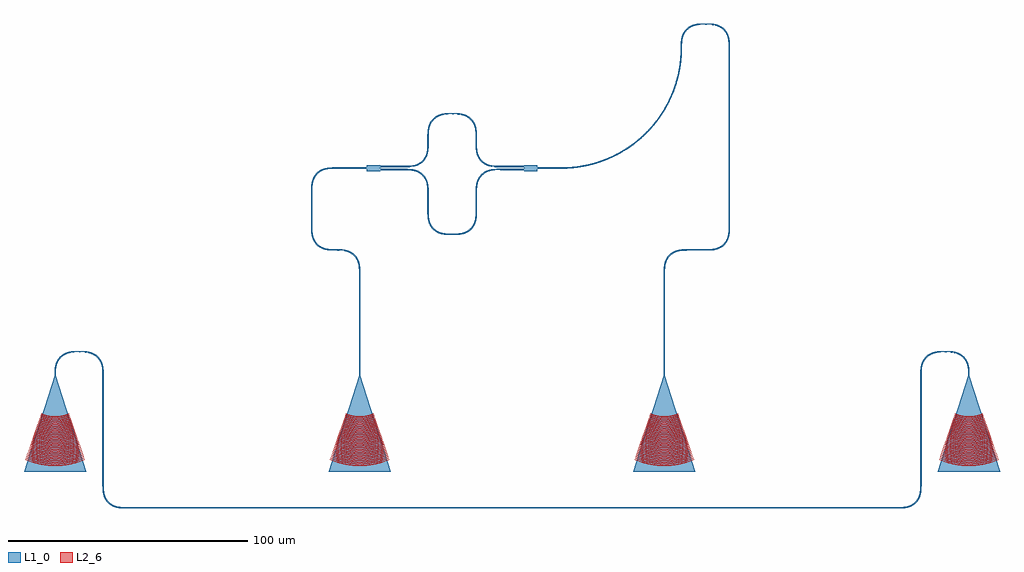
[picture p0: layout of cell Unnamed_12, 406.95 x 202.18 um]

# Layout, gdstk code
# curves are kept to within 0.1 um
from math import pi, radians
import gdstk
lib = gdstk.Library(unit=1e-6, precision=1e-09)
def R(c, l, rs):  # rectangles x0, y0, x1, y1
    for r in rs: c.add(gdstk.rectangle(r[:2], r[2:], *l))
def P(c, l, *ps):  # polygons
    for p in ps: c.add(gdstk.Polygon(p, *l))
L1_0 = (1, 0)
L2_6 = (2, 6)

mmi1x2_wnone_wt1_lt10_l_ = lib.new_cell('mmi1x2_WNone_WT1_LT10_L_4e0f7121')
P(mmi1x2_wnone_wt1_lt10_l_, L1_0, [(0,-1.25),(0,-0.5),(-10,-0.25),(-10,0.25),(0,0.5),(0,1.25),(5.5,1.25),(5.5,1.125),(15.5,0.875),(15.5,0.375),(5.5,0.125),(5.5,-0.125),(15.5,-0.375),(15.5,-0.875),(5.5,-1.125),(5.5,-1.25)])

bend_euler_rnone_a90_p0_ = lib.new_cell('bend_euler_RNone_A90_P0_d7c3a5a9')
P(bend_euler_rnone_a90_p0_, L1_0, [(0,-0.25),(0,0.25),(2.881,0.353),(3.952,0.52),(4.99,0.806),(6.431,1.505),(7.575,2.425),(8.495,3.569),(9.194,5.01),(9.48,6.048),(9.647,7.119),(9.75,10),(10.25,10),(10.158,7.205),(9.797,5.254),(9.457,4.312),(9.066,3.545),(8.5,2.715),(7.928,2.072),(7.285,1.5),(6.455,0.934),(5.688,0.543),(4.746,0.203),(2.795,-0.158)])

straight_l2_n2_csstrip = lib.new_cell('straight_L2_N2_CSstrip')
R(straight_l2_n2_csstrip, L1_0, [(0,-0.25,2,0.25)])

straight_l7_n2_csstrip = lib.new_cell('straight_L7_N2_CSstrip')
R(straight_l7_n2_csstrip, L1_0, [(0,-0.25,7,0.25)])

straight_l0p1_n2_csstrip = lib.new_cell('straight_L0p1_N2_CSstrip')
R(straight_l0p1_n2_csstrip, L1_0, [(0,-0.25,0.1,0.25)])

mzi_dl10_ly2_lx0p1_bben_ = lib.new_cell('mzi_DL10_LY2_LX0p1_Bben_4daac747')
mzi_dl10_ly2_lx0p1_bben_.add(gdstk.Reference(mmi1x2_wnone_wt1_lt10_l_, (0,0)))
mzi_dl10_ly2_lx0p1_bben_.add(gdstk.Reference(bend_euler_rnone_a90_p0_, (15.5,-0.625), x_reflection=True))
mzi_dl10_ly2_lx0p1_bben_.add(gdstk.Reference(bend_euler_rnone_a90_p0_, (25.5,-17.625), rotation=3*pi/2))
mzi_dl10_ly2_lx0p1_bben_.add(gdstk.Reference(bend_euler_rnone_a90_p0_, (15.5,0.625)))
mzi_dl10_ly2_lx0p1_bben_.add(gdstk.Reference(bend_euler_rnone_a90_p0_, (35.5,22.625), rotation=pi))
mzi_dl10_ly2_lx0p1_bben_.add(gdstk.Reference(bend_euler_rnone_a90_p0_, (45.6,12.625), rotation=pi/2))
mzi_dl10_ly2_lx0p1_bben_.add(gdstk.Reference(bend_euler_rnone_a90_p0_, (45.6,10.625), rotation=3*pi/2))
mzi_dl10_ly2_lx0p1_bben_.add(gdstk.Reference(bend_euler_rnone_a90_p0_, (35.6,-27.625)))
mzi_dl10_ly2_lx0p1_bben_.add(gdstk.Reference(bend_euler_rnone_a90_p0_, (55.6,-0.625), rotation=pi))
mzi_dl10_ly2_lx0p1_bben_.add(gdstk.Reference(straight_l2_n2_csstrip, (25.5,10.625), rotation=pi/2))
mzi_dl10_ly2_lx0p1_bben_.add(gdstk.Reference(straight_l7_n2_csstrip, (25.5,-10.625), rotation=3*pi/2))
mzi_dl10_ly2_lx0p1_bben_.add(gdstk.Reference(straight_l0p1_n2_csstrip, (35.5,22.625)))
mzi_dl10_ly2_lx0p1_bben_.add(gdstk.Reference(straight_l0p1_n2_csstrip, (35.5,-27.625)))
mzi_dl10_ly2_lx0p1_bben_.add(gdstk.Reference(mmi1x2_wnone_wt1_lt10_l_, (71.1,0), rotation=pi, x_reflection=True))
mzi_dl10_ly2_lx0p1_bben_.add(gdstk.Reference(straight_l2_n2_csstrip, (45.6,10.625), rotation=pi/2))
mzi_dl10_ly2_lx0p1_bben_.add(gdstk.Reference(straight_l7_n2_csstrip, (45.6,-17.625), rotation=pi/2))

bend_circular_r50_a90_n_ = lib.new_cell('bend_circular_R50_A90_N_f9b19662')
P(bend_circular_r50_a90_n_, L1_0, [(0,-0.25),(0,0.25),(3.013,0.341),(5.766,0.585),(8.254,0.939),(11.21,1.529),(13.401,2.089),(15.565,2.747),(19.56,4.256),(21.618,5.192),(23.853,6.341),(25.812,7.47),(27.926,8.827),(29.768,10.139),(31.549,11.533),(33.264,13.006),(35.09,14.733),(36.825,16.549),(38.307,18.257),(39.861,20.232),(41.173,22.074),(42.53,24.188),(43.659,26.147),(44.808,28.382),(45.744,30.44),(47.253,34.435),(47.911,36.599),(48.471,38.79),(49.061,41.746),(49.415,44.234),(49.659,46.987),(49.75,50),(50.25,50),(50.186,47.463),(50.019,45.185),(49.712,42.666),(49.278,40.166),(48.719,37.69),(48.109,35.489),(47.315,33.079),(46.401,30.712),(45.368,28.394),(44.339,26.354),(43.089,24.146),(41.869,22.215),(40.413,20.136),(38.854,18.134),(37.366,16.401),(35.622,14.558),(33.599,12.634),(31.866,11.146),(30.068,9.738),(27.996,8.272),(25.854,6.911),(23.646,5.661),(21.606,4.632),(19.288,3.599),(16.921,2.685),(14.511,1.891),(12.31,1.281),(9.834,0.722),(7.334,0.288),(4.815,-0.019),(2.537,-0.186)])

mzi_with_bend_r50 = lib.new_cell('mzi_with_bend_R50')
mzi_with_bend_r50.add(gdstk.Reference(mzi_dl10_ly2_lx0p1_bben_, (0,0)))
mzi_with_bend_r50.add(gdstk.Reference(bend_circular_r50_a90_n_, (81.1,0)))

grating_coupler_ellipti_ = lib.new_cell('grating_coupler_ellipti_7b8aa449')
P(grating_coupler_ellipti_, L1_0, [(40.551,-12.973),(0.471,-0.25),(0.471,0.25),(40.551,12.973)])
P(grating_coupler_ellipti_, L2_6, [(16.414,-5.811),(16.3,-5.646),(16.82,-4.153),(17.178,-2.617),(17.351,-1.313),(17.409,0),(17.351,1.313),(17.178,2.617),(16.82,4.153),(16.3,5.646),(16.414,5.811),(16.61,5.77),(16.981,4.76),(17.344,3.465),(17.658,1.611),(17.743,0),(17.658,-1.611),(17.344,-3.465),(16.981,-4.76),(16.61,-5.77)],
  [(17.047,-6.03),(16.933,-5.866),(17.473,-4.315),(17.845,-2.718),(18.025,-1.364),(18.085,0),(18.025,1.364),(17.845,2.718),(17.473,4.315),(16.933,5.866),(17.047,6.03),(17.243,5.988),(17.444,5.469),(17.793,4.407),(18.066,3.325),(18.33,1.671),(18.419,0),(18.33,-1.671),(18.066,-3.325),(17.793,-4.407),(17.444,-5.469),(17.243,-5.988)],
  [(17.68,-6.25),(17.566,-6.086),(18.126,-4.477),(18.512,-2.82),(18.699,-1.415),(18.761,0),(18.699,1.415),(18.512,2.82),(18.126,4.477),(17.566,6.086),(17.68,6.25),(17.876,6.208),(17.982,5.94),(18.363,4.846),(18.665,3.729),(19.003,1.733),(19.095,0),(19.003,-1.733),(18.665,-3.729),(18.363,-4.846),(17.982,-5.94),(17.876,-6.208)],
  [(18.313,-6.469),(18.199,-6.304),(18.779,-4.638),(19.179,-2.922),(19.373,-1.466),(19.437,0),(19.373,1.466),(19.179,2.922),(18.779,4.638),(18.199,6.304),(18.313,6.469),(18.509,6.428),(18.619,6.15),(19.013,5.018),(19.326,3.861),(19.676,1.794),(19.771,0),(19.676,-1.794),(19.326,-3.861),(19.013,-5.018),(18.619,-6.15),(18.509,-6.428)],
  [(18.946,-6.689),(18.832,-6.525),(19.432,-4.8),(19.846,-3.024),(20.046,-1.517),(20.113,0),(20.046,1.517),(19.846,3.024),(19.432,4.8),(18.832,6.525),(18.946,6.689),(19.142,6.647),(19.365,6.07),(19.752,4.892),(20.055,3.69),(20.349,1.855),(20.447,0),(20.349,-1.855),(20.055,-3.69),(19.752,-4.892),(19.365,-6.07),(19.142,-6.647)],
  [(19.579,-6.908),(19.465,-6.744),(20.085,-4.961),(20.513,-3.125),(20.72,-1.568),(20.789,0),(20.72,1.568),(20.513,3.125),(20.085,4.961),(19.465,6.744),(19.579,6.908),(19.775,6.866),(20.005,6.27),(20.405,5.053),(20.718,3.812),(21.021,1.917),(21.123,0),(21.021,-1.917),(20.718,-3.812),(20.405,-5.053),(20.005,-6.27),(19.775,-6.866)],
  [(20.212,-7.128),(20.098,-6.964),(20.738,-5.123),(21.18,-3.227),(21.394,-1.619),(21.465,0),(21.394,1.619),(21.18,3.227),(20.738,5.123),(20.098,6.964),(20.212,7.128),(20.408,7.086),(20.646,6.471),(21.058,5.215),(21.381,3.934),(21.694,1.978),(21.799,0),(21.694,-1.978),(21.381,-3.934),(21.058,-5.215),(20.646,-6.471),(20.408,-7.086)],
  [(20.844,-7.347),(20.73,-7.182),(21.391,-5.284),(21.847,-3.329),(22.068,-1.67),(22.141,0),(22.068,1.67),(21.847,3.329),(21.391,5.284),(20.73,7.182),(20.844,7.347),(21.04,7.306),(21.286,6.672),(21.711,5.376),(22.044,4.056),(22.367,2.039),(22.475,0),(22.367,-2.039),(22.044,-4.056),(21.711,-5.376),(21.286,-6.672),(21.04,-7.306)],
  [(21.477,-7.567),(21.363,-7.402),(22.044,-5.446),(22.514,-3.431),(22.741,-1.721),(22.817,0),(22.741,1.721),(22.514,3.431),(22.044,5.446),(21.363,7.402),(21.477,7.567),(21.673,7.526),(21.926,6.871),(22.364,5.538),(22.707,4.177),(23.04,2.1),(23.151,0),(23.04,-2.1),(22.707,-4.177),(22.364,-5.538),(21.926,-6.871),(21.673,-7.526)],
  [(22.11,-7.786),(21.996,-7.621),(22.697,-5.607),(23.181,-3.533),(23.415,-1.773),(23.493,0),(23.415,1.773),(23.181,3.533),(22.697,5.607),(21.996,7.621),(22.11,7.786),(22.306,7.745),(22.566,7.072),(23.017,5.699),(23.37,4.299),(23.712,2.161),(23.827,0),(23.712,-2.161),(23.37,-4.299),(23.017,-5.699),(22.566,-7.072),(22.306,-7.745)],
  [(22.743,-8.006),(22.629,-7.842),(23.35,-5.769),(23.848,-3.634),(24.089,-1.824),(24.169,0),(24.089,1.824),(23.848,3.634),(23.35,5.769),(22.629,7.842),(22.743,8.006),(22.939,7.964),(23.207,7.273),(23.67,5.861),(24.033,4.421),(24.385,2.223),(24.503,0),(24.385,-2.223),(24.033,-4.421),(23.67,-5.861),(23.207,-7.273),(22.939,-7.964)],
  [(23.376,-8.225),(23.262,-8.06),(24.003,-5.93),(24.515,-3.736),(24.763,-1.875),(24.845,0),(24.763,1.875),(24.515,3.736),(24.003,5.93),(23.262,8.06),(23.376,8.225),(23.572,8.184),(23.847,7.474),(24.323,6.022),(24.696,4.543),(25.058,2.284),(25.179,0),(25.058,-2.284),(24.696,-4.543),(24.323,-6.022),(23.847,-7.474),(23.572,-8.184)],
  [(24.009,-8.445),(23.895,-8.28),(24.657,-6.092),(25.182,-3.838),(25.436,-1.926),(25.521,0),(25.436,1.926),(25.182,3.838),(24.657,6.092),(23.895,8.28),(24.009,8.445),(24.205,8.404),(24.619,7.305),(24.977,6.184),(25.359,4.665),(25.731,2.346),(25.855,0),(25.731,-2.346),(25.359,-4.665),(24.977,-6.184),(24.619,-7.305),(24.205,-8.404)],
  [(24.642,-8.664),(24.528,-8.499),(25.31,-6.253),(25.849,-3.94),(26.11,-1.977),(26.197,0),(26.11,1.977),(25.849,3.94),(25.31,6.253),(24.528,8.499),(24.642,8.664),(24.838,8.623),(25.263,7.496),(25.63,6.345),(26.022,4.787),(26.404,2.407),(26.531,0),(26.404,-2.407),(26.022,-4.787),(25.63,-6.345),(25.263,-7.496),(24.838,-8.623)],
  [(25.275,-8.884),(25.161,-8.72),(25.963,-6.415),(26.516,-4.041),(26.784,-2.028),(26.873,0),(26.784,2.028),(26.516,4.041),(25.963,6.415),(25.161,8.72),(25.275,8.884),(25.471,8.842),(25.907,7.686),(26.283,6.507),(26.686,4.908),(27.076,2.468),(27.207,0),(27.076,-2.468),(26.686,-4.908),(26.283,-6.507),(25.907,-7.686),(25.471,-8.842)],
  [(25.908,-9.103),(25.794,-8.939),(26.237,-7.767),(26.616,-6.576),(26.932,-5.367),(27.183,-4.143),(27.458,-2.079),(27.549,0),(27.458,2.079),(27.183,4.143),(26.932,5.367),(26.616,6.576),(26.237,7.767),(25.794,8.939),(25.908,9.103),(26.104,9.061),(26.551,7.877),(26.936,6.668),(27.349,5.03),(27.749,2.529),(27.849,1.266),(27.883,0),(27.849,-1.266),(27.749,-2.529),(27.349,-5.03),(26.936,-6.668),(26.551,-7.877),(26.104,-9.061)],
  [(26.54,-9.323),(26.426,-9.158),(26.88,-7.958),(27.269,-6.738),(27.593,-5.498),(27.85,-4.245),(28.131,-2.13),(28.225,0),(28.131,2.13),(27.85,4.245),(27.593,5.498),(27.269,6.738),(26.88,7.958),(26.426,9.158),(26.54,9.323),(26.736,9.282),(27.194,8.068),(27.706,6.413),(28.012,5.152),(28.25,3.876),(28.422,2.59),(28.524,1.297),(28.559,0),(28.524,-1.297),(28.422,-2.59),(28.25,-3.876),(28.012,-5.152),(27.706,-6.413),(27.194,-8.068),(26.736,-9.282)],
  [(27.173,-9.542),(27.059,-9.377),(27.524,-8.149),(27.922,-6.9),(28.254,-5.63),(28.517,-4.347),(28.805,-2.181),(28.901,0),(28.805,2.181),(28.517,4.347),(28.254,5.63),(27.922,6.9),(27.524,8.149),(27.059,9.377),(27.173,9.542),(27.369,9.501),(27.838,8.259),(28.362,6.565),(28.675,5.274),(28.919,3.968),(29.095,2.652),(29.199,1.328),(29.235,0),(29.199,-1.328),(29.095,-2.652),(28.919,-3.968),(28.675,-5.274),(28.362,-6.565),(27.838,-8.259),(27.369,-9.501)],
  [(27.806,-9.762),(27.692,-9.597),(28.168,-8.339),(28.575,-7.061),(28.914,-5.762),(29.184,-4.448),(29.479,-2.232),(29.577,0),(29.479,2.232),(29.184,4.448),(28.914,5.762),(28.575,7.061),(28.168,8.339),(27.692,9.597),(27.806,9.762),(28.002,9.721),(28.482,8.449),(28.895,7.153),(29.338,5.396),(29.587,4.06),(29.767,2.713),(29.874,1.358),(29.911,0),(29.874,-1.358),(29.767,-2.713),(29.587,-4.06),(29.338,-5.396),(28.895,-7.153),(28.482,-8.449),(28.002,-9.721)],
  [(28.439,-9.981),(28.325,-9.816),(28.812,-8.53),(29.228,-7.223),(29.575,-5.894),(29.851,-4.55),(30.153,-2.283),(30.253,0),(30.153,2.283),(29.851,4.55),(29.575,5.894),(29.228,7.223),(28.812,8.53),(28.325,9.816),(28.439,9.981),(28.635,9.94),(29.126,8.64),(29.548,7.315),(30.001,5.518),(30.256,4.151),(30.44,2.774),(30.549,1.389),(30.587,0),(30.549,-1.389),(30.44,-2.774),(30.256,-4.151),(30.001,-5.518),(29.673,-6.869),(29.126,-8.64),(28.635,-9.94)],
  [(29.072,-10.201),(28.958,-10.037),(29.455,-8.721),(29.881,-7.384),(30.236,-6.026),(30.518,-4.652),(30.826,-2.334),(30.929,0),(30.826,2.334),(30.518,4.652),(30.236,6.026),(29.881,7.384),(29.455,8.721),(28.958,10.037),(29.072,10.201),(29.268,10.159),(29.769,8.831),(30.329,7.02),(30.664,5.639),(30.925,4.243),(31.113,2.836),(31.225,1.42),(31.263,0),(31.225,-1.42),(31.113,-2.836),(30.925,-4.243),(30.664,-5.639),(30.329,-7.02),(29.769,-8.831),(29.268,-10.159)],
  [(29.705,-10.42),(29.591,-10.255),(30.099,-8.912),(30.534,-7.546),(30.897,-6.158),(31.185,-4.754),(31.5,-2.385),(31.605,0),(31.5,2.385),(31.185,4.754),(30.897,6.158),(30.534,7.546),(30.099,8.912),(29.591,10.255),(29.705,10.42),(29.901,10.379),(30.413,9.022),(30.985,7.172),(31.327,5.761),(31.593,4.335),(31.786,2.896),(31.9,1.45),(31.939,0),(31.9,-1.45),(31.786,-2.896),(31.593,-4.335),(31.327,-5.761),(30.985,-7.172),(30.413,-9.022),(29.901,-10.379)],
  [(30.338,-10.64),(30.224,-10.475),(30.743,-9.103),(31.187,-7.707),(31.558,-6.289),(31.852,-4.855),(32.174,-2.437),(32.281,0),(32.174,2.437),(31.852,4.855),(31.558,6.289),(31.187,7.707),(30.743,9.103),(30.224,10.475),(30.338,10.64),(30.534,10.599),(31.057,9.213),(31.641,7.324),(31.99,5.883),(32.262,4.426),(32.458,2.958),(32.575,1.481),(32.615,0),(32.575,-1.481),(32.458,-2.958),(32.262,-4.426),(31.99,-5.883),(31.641,-7.324),(31.057,-9.213),(30.534,-10.599)],
  [(30.971,-10.859),(30.857,-10.695),(31.387,-9.293),(31.84,-7.869),(32.219,-6.421),(32.519,-4.957),(32.848,-2.488),(32.957,0),(32.848,2.488),(32.519,4.957),(32.219,6.421),(31.84,7.869),(31.387,9.293),(30.857,10.695),(30.971,10.859),(31.167,10.817),(31.701,9.403),(32.297,7.476),(32.653,6.005),(32.931,4.518),(33.131,3.019),(33.25,1.512),(33.291,0),(33.25,-1.512),(33.131,-3.019),(32.931,-4.518),(32.653,-6.005),(32.297,-7.476),(31.701,-9.403),(31.167,-10.817)],
  [(31.604,-11.079),(31.49,-10.915),(32.03,-9.484),(32.493,-8.03),(32.879,-6.553),(33.186,-5.059),(33.521,-2.539),(33.633,0),(33.521,2.539),(33.186,5.059),(32.879,6.553),(32.493,8.03),(32.03,9.484),(31.49,10.915),(31.604,11.079),(31.8,11.037),(32.344,9.594),(32.952,7.627),(33.316,6.127),(33.6,4.61),(33.804,3.081),(33.925,1.542),(33.967,0),(33.925,-1.542),(33.804,-3.081),(33.6,-4.61),(33.316,-6.127),(32.952,-7.627),(32.344,-9.594),(31.8,-11.037)],
  [(32.237,-11.298),(32.123,-11.133),(32.674,-9.675),(33.146,-8.192),(33.54,-6.685),(33.853,-5.161),(34.195,-2.59),(34.309,0),(34.195,2.59),(33.853,5.161),(33.54,6.685),(33.146,8.192),(32.674,9.675),(32.123,11.133),(32.237,11.298),(32.433,11.257),(32.988,9.785),(33.608,7.779),(33.979,6.249),(34.268,4.701),(34.477,3.142),(34.601,1.573),(34.643,0),(34.601,-1.573),(34.477,-3.142),(34.268,-4.701),(33.979,-6.249),(33.608,-7.779),(32.988,-9.785),(32.433,-11.257)],
  [(32.869,-11.518),(32.755,-11.353),(33.318,-9.866),(33.799,-8.353),(34.201,-6.817),(34.52,-5.262),(34.869,-2.641),(34.985,0),(34.869,2.641),(34.52,5.262),(34.201,6.817),(33.799,8.353),(33.318,9.866),(32.755,11.353),(32.869,11.518),(33.065,11.477),(33.632,9.976),(34.264,7.931),(34.642,6.37),(34.937,4.793),(35.149,3.203),(35.276,1.604),(35.319,0),(35.276,-1.604),(35.149,-3.203),(34.937,-4.793),(34.642,-6.37),(34.264,-7.931),(33.632,-9.976),(33.065,-11.477)],
  [(33.502,-11.738),(33.388,-11.573),(33.962,-10.056),(34.453,-8.515),(34.862,-6.949),(35.187,-5.364),(35.543,-2.692),(35.661,0),(35.543,2.692),(35.187,5.364),(34.862,6.949),(34.453,8.515),(33.962,10.056),(33.388,11.573),(33.502,11.738),(33.698,11.697),(34.276,10.166),(34.773,8.607),(35.305,6.492),(35.606,4.885),(35.822,3.264),(35.951,1.634),(35.995,0),(35.951,-1.634),(35.822,-3.264),(35.606,-4.885),(35.305,-6.492),(34.773,-8.607),(34.276,-10.166),(33.698,-11.697)],
  [(34.135,-11.957),(34.021,-11.792),(34.605,-10.247),(35.106,-8.676),(35.523,-7.08),(35.854,-5.466),(36.216,-2.743),(36.337,0),(36.216,2.743),(35.854,5.466),(35.523,7.08),(35.106,8.676),(34.605,10.247),(34.021,11.792),(34.135,11.957),(34.331,11.916),(34.919,10.357),(35.576,8.233),(35.968,6.614),(36.274,4.976),(36.495,3.325),(36.626,1.665),(36.671,0),(36.626,-1.665),(36.495,-3.325),(36.274,-4.976),(35.968,-6.614),(35.576,-8.233),(34.919,-10.357),(34.331,-11.916)],
  [(34.768,-12.177),(34.654,-12.013),(35.249,-10.438),(35.759,-8.838),(36.183,-7.212),(36.521,-5.568),(36.89,-2.794),(37.013,0),(36.89,2.794),(36.521,5.568),(36.183,7.212),(35.759,8.838),(35.249,10.438),(34.654,12.013),(34.768,12.177),(34.964,12.135),(35.563,10.548),(36.232,8.385),(36.631,6.736),(36.943,5.068),(37.168,3.387),(37.301,1.696),(37.347,0),(37.301,-1.696),(37.168,-3.387),(36.943,-5.068),(36.631,-6.736),(36.232,-8.385),(35.563,-10.548),(34.964,-12.135)],
  [(35.401,-12.396),(35.287,-12.231),(35.893,-10.629),(36.412,-8.999),(36.844,-7.344),(37.188,-5.669),(37.564,-2.845),(37.689,0),(37.564,2.845),(37.188,5.669),(36.844,7.344),(36.412,8.999),(35.893,10.629),(35.287,12.231),(35.401,12.396),(35.597,12.355),(36.207,10.739),(36.732,9.091),(37.295,6.858),(37.612,5.16),(37.84,3.448),(37.977,1.726),(38.023,0),(37.977,-1.726),(37.84,-3.448),(37.612,-5.16),(37.295,-6.858),(36.732,-9.091),(36.207,-10.739),(35.597,-12.355)])

straight_l3_n2_csstrip = lib.new_cell('straight_L3_N2_CSstrip')
R(straight_l3_n2_csstrip, L1_0, [(0,-0.25,3,0.25)])

straight_l14p125_n2_csst = lib.new_cell('straight_L14p125_N2_CSstrip')
R(straight_l14p125_n2_csst, L1_0, [(0,-0.25,14.125,0.25)])

straight_l42p4710000000_ = lib.new_cell('straight_L42p4710000000_142f11cf')
R(straight_l42p4710000000_, L1_0, [(0,-0.25,42.471,0.25)])

straight_l74p125_n2_csst = lib.new_cell('straight_L74p125_N2_CSstrip')
R(straight_l74p125_n2_csst, L1_0, [(0,-0.25,74.125,0.25)])

straight_l7p10000000000_ = lib.new_cell('straight_L7p10000000000_836621a4')
R(straight_l7p10000000000_, L1_0, [(0,-0.25,7.1,0.25)])

straight_l45p08_n2_csstr = lib.new_cell('straight_L45p08_N2_CSstrip')
R(straight_l45p08_n2_csstr, L1_0, [(0,-0.25,45.08,0.25)])

straight_l321_n2_csstrip = lib.new_cell('straight_L321_N2_CSstrip')
R(straight_l321_n2_csstrip, L1_0, [(0,-0.25,321,0.25)])

unnamed_12 = lib.new_cell('Unnamed_12')
unnamed_12.add(gdstk.Reference(mzi_with_bend_r50, (0,0)))
unnamed_12.add(gdstk.Reference(grating_coupler_ellipti_, (-3,-86.125), rotation=3*pi/2))
unnamed_12.add(gdstk.Reference(grating_coupler_ellipti_, (124,-86.125), rotation=3*pi/2))
unnamed_12.add(gdstk.Reference(bend_euler_rnone_a90_p0_, (-23,-10), rotation=pi/2, x_reflection=True))
unnamed_12.add(gdstk.Reference(straight_l3_n2_csstrip, (-13,0)))
unnamed_12.add(gdstk.Reference(bend_euler_rnone_a90_p0_, (-13,-34.125), rotation=pi, x_reflection=True))
unnamed_12.add(gdstk.Reference(straight_l14p125_n2_csst, (-23,-24.125), rotation=pi/2))
unnamed_12.add(gdstk.Reference(bend_euler_rnone_a90_p0_, (-3,-44.125), rotation=pi/2))
unnamed_12.add(gdstk.Reference(straight_l42p4710000000_, (-3,-44.125), rotation=3*pi/2))
unnamed_12.add(gdstk.Reference(bend_euler_rnone_a90_p0_, (141.1,60), rotation=pi))
unnamed_12.add(gdstk.Reference(bend_euler_rnone_a90_p0_, (151.1,50), rotation=pi/2))
unnamed_12.add(gdstk.Reference(bend_euler_rnone_a90_p0_, (141.1,-34.125)))
unnamed_12.add(gdstk.Reference(straight_l74p125_n2_csst, (151.1,-24.125), rotation=pi/2))
unnamed_12.add(gdstk.Reference(bend_euler_rnone_a90_p0_, (124,-44.125), rotation=pi/2, x_reflection=True))
unnamed_12.add(gdstk.Reference(straight_l7p10000000000_, (134,-34.125)))
unnamed_12.add(gdstk.Reference(straight_l42p4710000000_, (124,-44.125), rotation=3*pi/2))
unnamed_12.add(gdstk.Reference(grating_coupler_ellipti_, (-130,-86.125), rotation=3*pi/2))
unnamed_12.add(gdstk.Reference(grating_coupler_ellipti_, (251,-86.125), rotation=3*pi/2))
unnamed_12.add(gdstk.Reference(bend_euler_rnone_a90_p0_, (-120,-76.596), rotation=pi))
unnamed_12.add(gdstk.Reference(bend_euler_rnone_a90_p0_, (-110,-86.596), rotation=pi/2))
unnamed_12.add(gdstk.Reference(bend_euler_rnone_a90_p0_, (-100,-141.676), rotation=pi, x_reflection=True))
unnamed_12.add(gdstk.Reference(straight_l45p08_n2_csstr, (-110,-131.676), rotation=pi/2))
unnamed_12.add(gdstk.Reference(bend_euler_rnone_a90_p0_, (231,-131.676), rotation=3*pi/2, x_reflection=True))
unnamed_12.add(gdstk.Reference(straight_l321_n2_csstrip, (221,-141.676), rotation=pi))
unnamed_12.add(gdstk.Reference(bend_euler_rnone_a90_p0_, (241,-76.596), rotation=pi))
unnamed_12.add(gdstk.Reference(straight_l45p08_n2_csstr, (231,-86.596), rotation=3*pi/2))
unnamed_12.add(gdstk.Reference(bend_euler_rnone_a90_p0_, (251,-86.596), rotation=pi/2))

lib.write_gds('Unnamed_12.gds')
